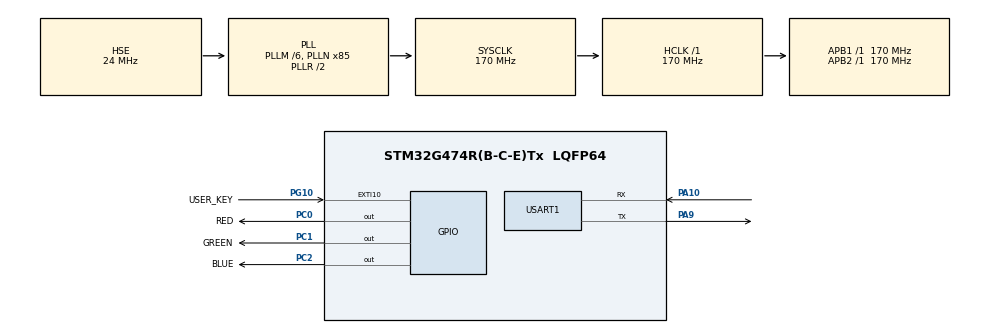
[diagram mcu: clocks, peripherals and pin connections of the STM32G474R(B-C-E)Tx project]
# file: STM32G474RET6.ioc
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Mcu.Family=STM32G4
Mcu.Name=STM32G474R(B-C-E)Tx
Mcu.Package=LQFP64
NVIC.EXTI15_10_IRQn=true\:0\:0\:false\:false\:true\:true\:true\:true
NVIC.PriorityGroup=NVIC_PRIORITYGROUP_4
NVIC.USART1_IRQn=true\:0\:0\:false\:false\:true\:true\:true\:true
PA10.Mode=Asynchronous
PA10.Signal=USART1_RX
PA13.Mode=Serial_Wire
PA13.Signal=SYS_JTMS-SWDIO
PA14.Mode=Serial_Wire
PA14.Signal=SYS_JTCK-SWCLK
PA9.Mode=Asynchronous
PA9.Signal=USART1_TX
PC0.GPIO_Label=RED
PC0.GPIO_PuPd=GPIO_PULLUP
PC0.GPIO_Speed=GPIO_SPEED_FREQ_VERY_HIGH
PC0.PinState=GPIO_PIN_SET
PC0.Signal=GPIO_Output
PC1.GPIO_Label=GREEN
PC1.GPIO_PuPd=GPIO_PULLUP
PC1.GPIO_Speed=GPIO_SPEED_FREQ_VERY_HIGH
PC1.PinState=GPIO_PIN_SET
PC1.Signal=GPIO_Output
PC2.GPIO_Label=BLUE
PC2.GPIO_PuPd=GPIO_PULLUP
PC2.GPIO_Speed=GPIO_SPEED_FREQ_VERY_HIGH
PC2.PinState=GPIO_PIN_SET
PC2.Signal=GPIO_Output
PF0-OSC_IN.Mode=HSE-External-Oscillator
PF0-OSC_IN.Signal=RCC_OSC_IN
PF1-OSC_OUT.Mode=HSE-External-Oscillator
PF1-OSC_OUT.Signal=RCC_OSC_OUT
PG10-NRST.GPIO_Label=USER_KEY
PG10-NRST.GPIO_ModeDefaultEXTI=GPIO_MODE_IT_FALLING
PG10-NRST.GPIO_PuPd=GPIO_PULLUP
PG10-NRST.Signal=GPIO_EXTI10
ProjectManager.HeapSize=0x200
ProjectManager.StackSize=0x400
ProjectManager.TargetToolchain=MDK-ARM V5.32
RCC.ADC12Freq_Value=170000000
RCC.ADC345Freq_Value=170000000
RCC.AHBFreq_Value=170000000
RCC.APB1Freq_Value=170000000
RCC.APB1TimFreq_Value=170000000
RCC.APB2Freq_Value=170000000
RCC.APB2TimFreq_Value=170000000
RCC.CortexFreq_Value=170000000
RCC.EXTERNAL_CLOCK_VALUE=12288000
RCC.HCLKFreq_Value=170000000
RCC.HSE_VALUE=24000000
RCC.HSI48_VALUE=48000000
RCC.HSI_VALUE=16000000
RCC.LSE_VALUE=32768
RCC.PLLM=RCC_PLLM_DIV6
RCC.PLLN=85
RCC.PLLSourceVirtual=RCC_PLLSOURCE_HSE
RCC.SYSCLKFreq_VALUE=170000000
RCC.SYSCLKSource=RCC_SYSCLKSOURCE_PLLCLK
RCC.USBFreq_Value=170000000
RCC.VCOOutputFreq_Value=340000000
USART1.VirtualMode-Asynchronous=VM_ASYNC
VP_SYS_VS_DBSignals.Mode=DisableDeadBatterySignals
board=custom

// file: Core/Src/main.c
/* USER CODE BEGIN Header */
/**
  ******************************************************************************
  * @file           : main.c
  * @brief          : Main program body
  ******************************************************************************
  * @attention
  *
  * Copyright (c) 2026 STMicroelectronics.
  * All rights reserved.
  *
  * This software is licensed under terms that can be found in the LICENSE file
  * in the root directory of this software component.
  * If no LICENSE file comes with this software, it is provided AS-IS.
  *
  ******************************************************************************
  */
/* USER CODE END Header */
#include "main.h"
#include "usart.h"
#include "gpio.h"

/* USER CODE BEGIN Includes */
#include <string.h>
#include <stdlib.h>
#include "stdio.h"

/* USER CODE END Includes */

void SystemClock_Config(void);
/* USER CODE BEGIN PFP */
static void RST_Key_EnableGPIO(void);
/* USER CODE END PFP */

/* USER CODE BEGIN 0 */
static void RST_Key_EnableGPIO(void)
{
  FLASH_OBProgramInitTypeDef ob = {0};

  HAL_FLASHEx_OBGetConfig(&ob);
  if ((ob.USERConfig & FLASH_OPTR_NRST_MODE) != OB_NRST_MODE_GPIO)
  {
    HAL_FLASH_Unlock();
    HAL_FLASH_OB_Unlock();

    ob.OptionType = OPTIONBYTE_USER;
    ob.USERType = OB_USER_NRST_MODE;
    ob.USERConfig = OB_NRST_MODE_GPIO;
    if (HAL_FLASHEx_OBProgram(&ob) != HAL_OK)
    {
      Error_Handler();
    }

    HAL_FLASH_OB_Launch();
    Error_Handler();
  }
}

int fputc(int ch, FILE *f)
{
	HAL_UART_Transmit(&huart1, (uint8_t *)&ch, 1, 0xFFFF);
	return ch;
}

uint8_t rx1_buf;

/**
	* @brief          串口接收中断回调函数
  * @param[in]     	huart 串口句柄
  * @retval         none
  */
void HAL_UART_RxCpltCallback(UART_HandleTypeDef *huart)
{

	if(huart->Instance==USART1)
	{
		HAL_UART_Receive_IT(&huart1, &rx1_buf, 1);

		HAL_UART_Transmit(&huart1, &rx1_buf, 1, 1000);

	}

}
/* USER CODE END 0 */

int main(void)
{

  /* MCU Configuration--------------------------------------------------------*/

  /* Reset of all peripherals, Initializes the Flash interface and the Systick. */
  HAL_Init();

  /* USER CODE BEGIN Init */
  RST_Key_EnableGPIO();
  /* USER CODE END Init */

  /* Configure the system clock */
  SystemClock_Config();

  /* Initialize all configured peripherals */
  MX_GPIO_Init();
  MX_USART1_UART_Init();
  /* USER CODE BEGIN 2 */
  printf("GPIO EXTI: PG10 falling edge toggles RGB.\r\n");
	HAL_UART_Receive_IT(&huart1, &rx1_buf, 1);
  /* USER CODE END 2 */

  /* Infinite loop */
  while (1)
  {

  }
}

void SystemClock_Config(void)
{
  RCC_OscInitTypeDef RCC_OscInitStruct = {0};
  RCC_ClkInitTypeDef RCC_ClkInitStruct = {0};

  /** Configure the main internal regulator output voltage
  */
  HAL_PWREx_ControlVoltageScaling(PWR_REGULATOR_VOLTAGE_SCALE1_BOOST);

  /** Initializes the RCC Oscillators according to the specified parameters
  * in the RCC_OscInitTypeDef structure.
  */
  RCC_OscInitStruct.OscillatorType = RCC_OSCILLATORTYPE_HSE;
  RCC_OscInitStruct.HSEState = RCC_HSE_ON;
  RCC_OscInitStruct.PLL.PLLState = RCC_PLL_ON;
  RCC_OscInitStruct.PLL.PLLSource = RCC_PLLSOURCE_HSE;
  RCC_OscInitStruct.PLL.PLLM = RCC_PLLM_DIV6;
  RCC_OscInitStruct.PLL.PLLN = 85;
  RCC_OscInitStruct.PLL.PLLP = RCC_PLLP_DIV2;
  RCC_OscInitStruct.PLL.PLLQ = RCC_PLLQ_DIV2;
  RCC_OscInitStruct.PLL.PLLR = RCC_PLLR_DIV2;
  if (HAL_RCC_OscConfig(&RCC_OscInitStruct) != HAL_OK)
  {
    Error_Handler();
  }

  /** Initializes the CPU, AHB and APB buses clocks
  */
  RCC_ClkInitStruct.ClockType = RCC_CLOCKTYPE_HCLK|RCC_CLOCKTYPE_SYSCLK
                              |RCC_CLOCKTYPE_PCLK1|RCC_CLOCKTYPE_PCLK2;
  RCC_ClkInitStruct.SYSCLKSource = RCC_SYSCLKSOURCE_PLLCLK;
  RCC_ClkInitStruct.AHBCLKDivider = RCC_SYSCLK_DIV1;
  RCC_ClkInitStruct.APB1CLKDivider = RCC_HCLK_DIV1;
  RCC_ClkInitStruct.APB2CLKDivider = RCC_HCLK_DIV1;

  if (HAL_RCC_ClockConfig(&RCC_ClkInitStruct, FLASH_LATENCY_4) != HAL_OK)
  {
    Error_Handler();
  }
}

/* USER CODE BEGIN 4 */
void HAL_GPIO_EXTI_Callback(uint16_t GPIO_Pin)
{
  if (GPIO_Pin == USER_KEY_Pin)
  {
    HAL_GPIO_TogglePin(RED_GPIO_Port, RED_Pin);
    HAL_GPIO_TogglePin(GREEN_GPIO_Port, GREEN_Pin);
    HAL_GPIO_TogglePin(BLUE_GPIO_Port, BLUE_Pin);
  }
}

/* USER CODE END 4 */

void Error_Handler(void)
{
  __disable_irq();
  while (1)
  {
  }
}
